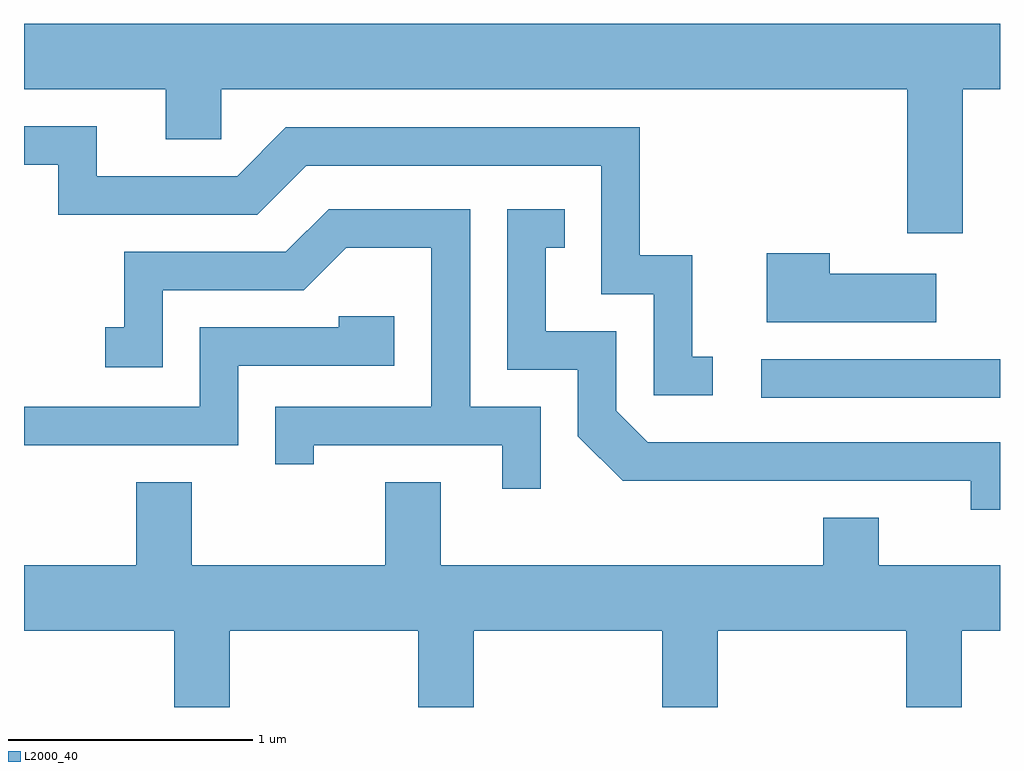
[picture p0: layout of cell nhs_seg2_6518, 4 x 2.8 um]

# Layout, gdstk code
import gdstk
lib = gdstk.Library(unit=1e-6, precision=1e-09)
def R(c, l, rs):  # rectangles x0, y0, x1, y1
    for r in rs: c.add(gdstk.rectangle(r[:2], r[2:], *l))
def P(c, l, *ps):  # polygons
    for p in ps: c.add(gdstk.Polygon(p, *l))
L2000_40 = (2000, 40)

nhs_seg2_6518 = lib.new_cell('nhs_seg2_6518')
R(nhs_seg2_6518, L2000_40, [(380.633,1027.071,381.611,1027.229)])
P(nhs_seg2_6518, L2000_40, [(381.459,1028.336),(381.611,1028.336),(381.611,1028.604),(377.611,1028.604),(377.611,1028.336),(378.191,1028.336),(378.191,1028.131),(378.419,1028.131),(378.419,1028.336),(381.231,1028.336),(381.231,1027.746),(381.459,1027.746)],
  [(380.433,1027.239),(380.349,1027.239),(380.349,1027.654),(380.134,1027.654),(380.134,1028.179),(378.684,1028.179),(378.484,1027.979),(377.909,1027.979),(377.909,1028.184),(377.611,1028.184),(377.611,1028.026),(377.751,1028.026),(377.751,1027.821),(378.567,1027.821),(378.767,1028.021),(379.976,1028.021),(379.976,1027.496),(380.191,1027.496),(380.191,1027.081),(380.433,1027.081)],
  [(379.729,1027.034),(379.439,1027.034),(379.439,1027.844),(378.859,1027.844),(378.684,1027.669),(378.021,1027.669),(378.021,1027.359),(377.943,1027.359),(377.943,1027.196),(378.179,1027.196),(378.179,1027.511),(378.757,1027.511),(378.932,1027.686),(379.281,1027.686),(379.281,1027.034),(378.641,1027.034),(378.641,1026.798),(378.799,1026.798),(378.799,1026.876),(379.571,1026.876),(379.571,1026.698),(379.729,1026.698)],
  [(381.611,1026.889),(380.167,1026.889),(380.039,1027.017),(380.039,1027.344),(379.749,1027.344),(379.749,1027.686),(379.828,1027.686),(379.828,1027.844),(379.591,1027.844),(379.591,1027.186),(379.881,1027.186),(379.881,1026.914),(380.064,1026.731),(381.491,1026.731),(381.491,1026.611),(381.611,1026.611)],
  [(381.349,1027.579),(380.914,1027.579),(380.914,1027.664),(380.656,1027.664),(380.656,1027.381),(381.349,1027.381)],
  [(378.489,1027.201),(379.129,1027.201),(379.129,1027.404),(378.901,1027.404),(378.901,1027.359),(378.331,1027.359),(378.331,1027.034),(377.611,1027.034),(377.611,1026.876),(378.489,1026.876)],
  [(378.454,1026.116),(379.226,1026.116),(379.226,1025.802),(379.454,1025.802),(379.454,1026.116),(380.226,1026.116),(380.226,1025.802),(380.454,1025.802),(380.454,1026.116),(381.226,1026.116),(381.226,1025.802),(381.454,1025.802),(381.454,1026.116),(381.611,1026.116),(381.611,1026.384),(381.114,1026.384),(381.114,1026.579),(380.886,1026.579),(380.886,1026.384),(379.319,1026.384),(379.319,1026.724),(379.091,1026.724),(379.091,1026.384),(378.299,1026.384),(378.299,1026.724),(378.071,1026.724),(378.071,1026.384),(377.611,1026.384),(377.611,1026.116),(378.226,1026.116),(378.226,1025.802),(378.454,1025.802)])

lib.write_gds('nhs_seg2_6518.gds')
